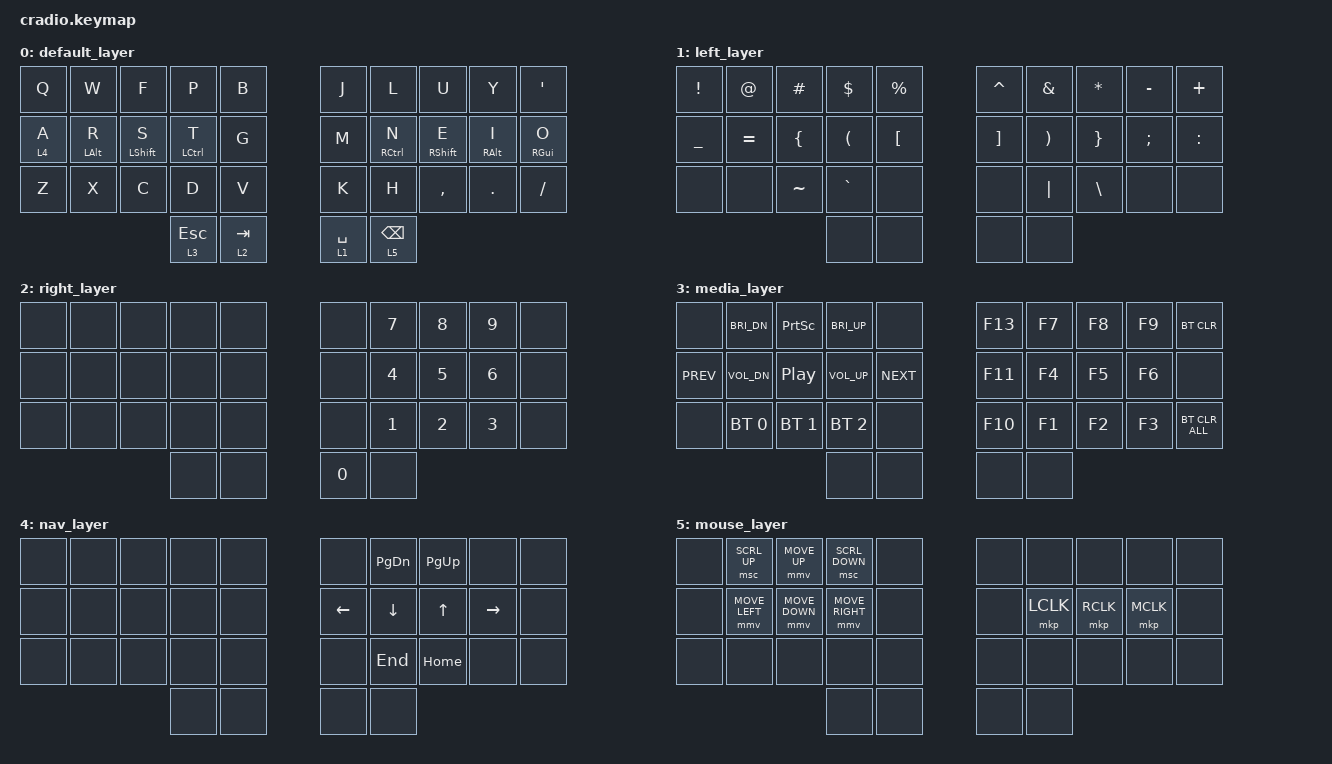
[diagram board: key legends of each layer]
// Copyright (c) 2022 The ZMK Contributors
// SPDX-License-Identifier: MIT
#include <behaviors.dtsi>
#include <dt-bindings/zmk/keys.h>
#include <dt-bindings/zmk/bt.h>

#define ZMK_POINTING_DEFAULT_MOVE_VAL 1800
#define ZMK_POINTING_DEFAULT_SCRL_VAL 30

#include <dt-bindings/zmk/pointing.h>

&mt {
    flavor = "balanced";
    tapping-term-ms = <180>;
    quick-tap-ms = <120>;
    retro-tap;
};

&lt {
    flavor = "balanced";
    tapping-term-ms = <180>;
    quick-tap-ms = <120>;
};

/ {
    combos {
        compatible = "zmk,combos";

        combo_enter {
            timeout-ms = <40>;
            key-positions = <16 17>;
            bindings = <&kp ENTER>;
        };
    };

    keymap {
        compatible = "zmk,keymap";

        default_layer {
            bindings = <
            &kp Q        &kp W          &kp F          &kp P           &kp B               &kp J            &kp L         &kp U          &kp Y          &kp SINGLE_QUOTE
            &lt 4 A      &mt LALT R     &mt LSHIFT S   &mt LCTRL T     &kp G               &kp M            &mt RCTRL N   &mt RSHIFT E   &mt RALT I     &mt RGUI O
            &kp Z        &kp X          &kp C          &kp D           &kp V               &kp K            &kp H         &kp COMMA      &kp DOT        &kp FSLH
                                                       &lt 3 ESC       &lt 2 TAB           &lt 1 SPACE      &lt 5 BSPC
            >;
        };

        // Layer 1: Symbols
        left_layer {
            bindings = <
            &kp EXCL     &kp AT         &kp HASH       &kp DLLR        &kp PRCNT            &kp CARET      &kp AMPS       &kp ASTRK      &kp MINUS      &kp PLUS
            &kp UNDER    &kp EQUAL      &kp LBRC       &kp LPAR        &kp LBKT             &kp RBKT       &kp RPAR       &kp RBRC       &kp SEMI       &kp COLON
            &none        &none          &kp TILDE      &kp GRAVE       &none                &none          &kp PIPE       &kp BSLH       &none          &none
                                                       &none           &none                &none          &none
            >;
        };


        // Layer 2: Numbers
        right_layer {
            bindings = <
            &none        &none          &none          &none           &none                &none          &kp N7         &kp N8         &kp N9         &none
            &none        &none          &none          &none           &none                &none          &kp N4         &kp N5         &kp N6         &none
            &none        &none          &none          &none           &none                &none          &kp N1         &kp N2         &kp N3         &none
                                                       &none           &none                &kp N0         &none
            >;
        };

        // Layer 3: Media and Functions
        media_layer {
            bindings = <
            &none        &kp C_BRI_DN   &kp PSCRN      &kp C_BRI_UP    &none                &kp F13        &kp F7         &kp F8         &kp F9         &bt BT_CLR
            &kp C_PREV   &kp C_VOL_DN   &kp C_PP       &kp C_VOL_UP    &kp C_NEXT           &kp F11        &kp F4         &kp F5         &kp F6         &none
            &none        &bt BT_SEL 0   &bt BT_SEL 1   &bt BT_SEL 2    &none                &kp F10        &kp F1         &kp F2         &kp F3         &bt BT_CLR_ALL
                                                       &none           &none                &none          &none
            >;
        };


        // Layer 4: Navigation
        nav_layer {
            bindings = <
            &none        &none          &none          &none           &none                &none          &kp PAGE_DOWN  &kp PAGE_UP    &none          &none
            &none        &none          &none          &none           &none                &kp LEFT       &kp DOWN       &kp UP         &kp RIGHT      &none
            &none        &none          &none          &none           &none                &none          &kp END        &kp HOME       &none          &none
                                                       &none           &none                &none          &none
            >;
        };

        // Layer 5: Mouse movement
        mouse_layer {
            bindings = <
            &none        &msc SCRL_UP   &mmv MOVE_UP   &msc SCRL_DOWN  &none                &none          &none          &none          &none          &none
            &none        &mmv MOVE_LEFT &mmv MOVE_DOWN &mmv MOVE_RIGHT &none                &none          &mkp LCLK      &mkp RCLK      &mkp MCLK      &none
            &none        &none          &none          &none           &none                &none          &none          &none          &none          &none
                                                       &none           &none                &none          &none
            >;
        };
    };
};
